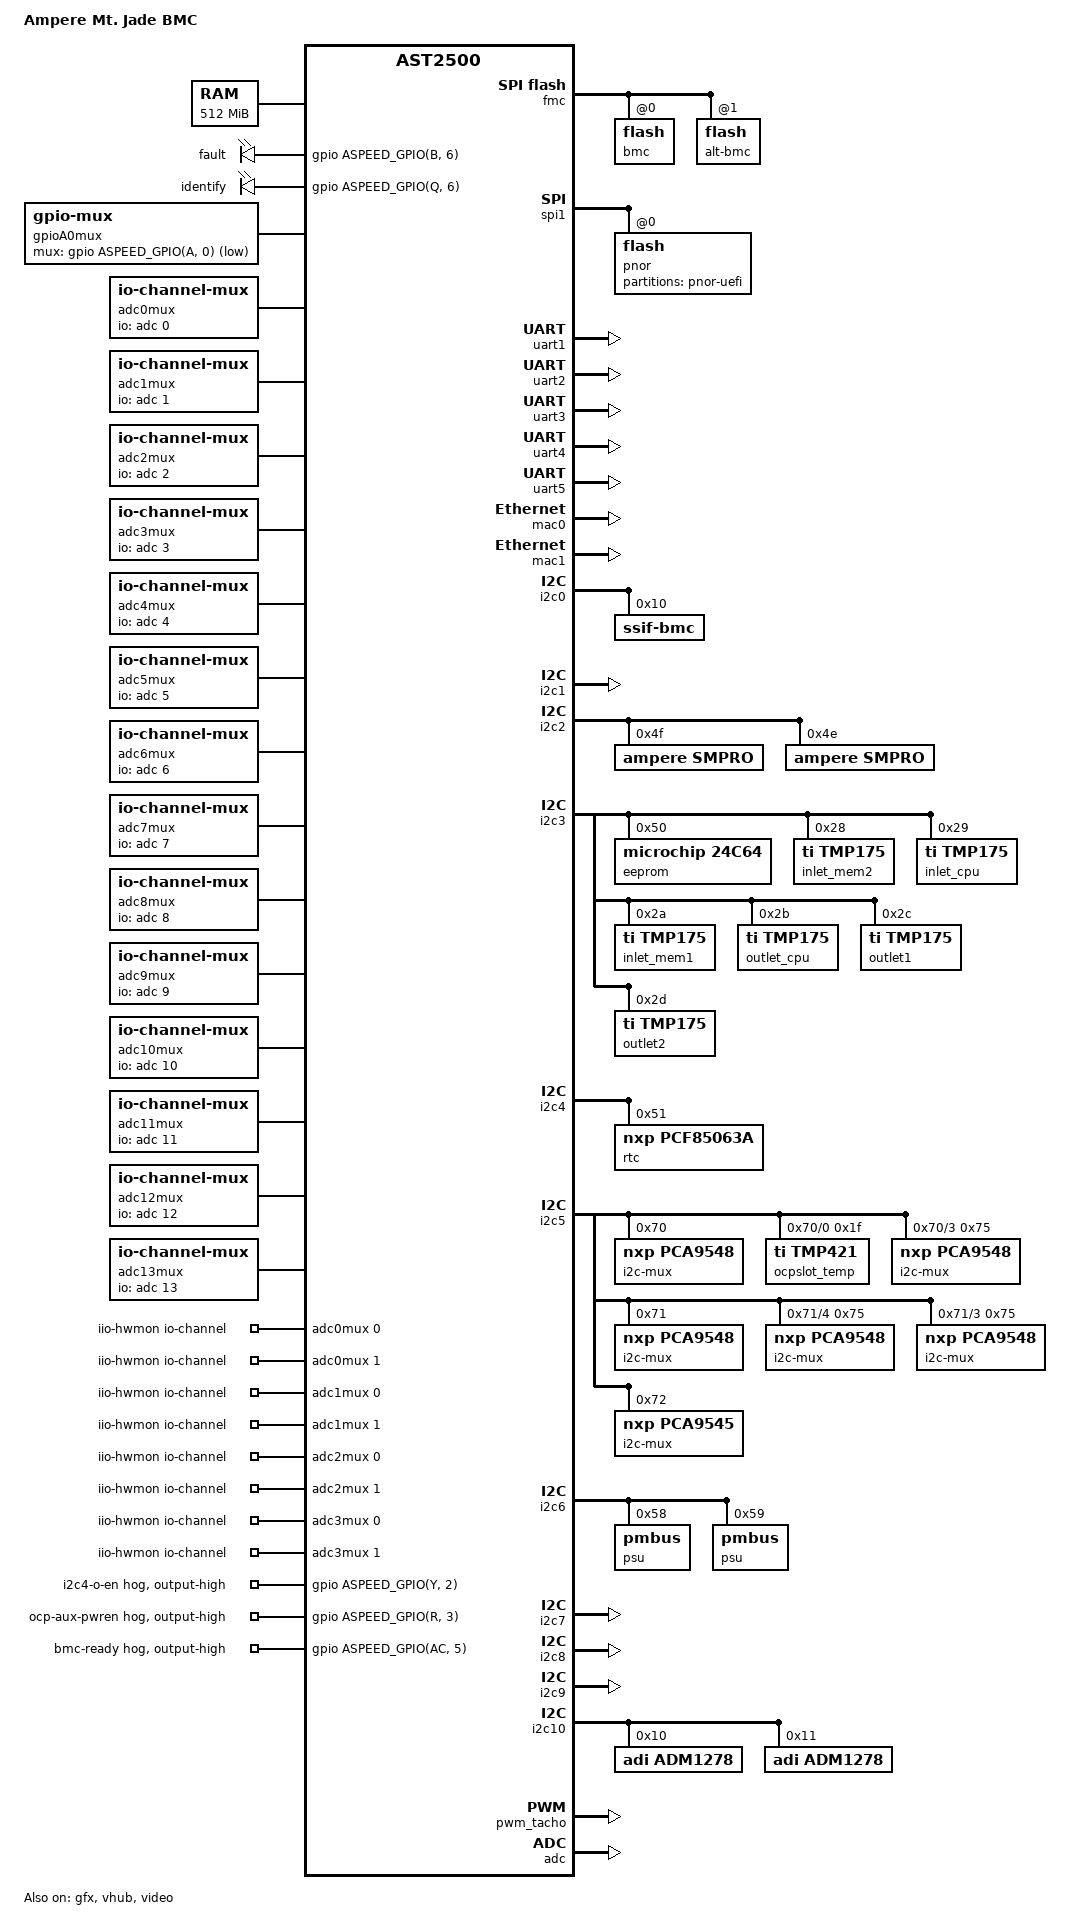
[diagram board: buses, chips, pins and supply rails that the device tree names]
// SPDX-License-Identifier: GPL-2.0+
/dts-v1/;
#include "aspeed-g5.dtsi"
#include <dt-bindings/gpio/aspeed-gpio.h>

/ {
	model = "Ampere Mt. Jade BMC";
	compatible = "ampere,mtjade-bmc", "aspeed,ast2500";

	aliases {
		/*
		 *  i2c bus 50-57 assigned to NVMe slot 0-7
		 */
		i2c50 = &nvmeslot_0;
		i2c51 = &nvmeslot_1;
		i2c52 = &nvmeslot_2;
		i2c53 = &nvmeslot_3;
		i2c54 = &nvmeslot_4;
		i2c55 = &nvmeslot_5;
		i2c56 = &nvmeslot_6;
		i2c57 = &nvmeslot_7;

		/*
		 *  i2c bus 60-67 assigned to NVMe slot 8-15
		 */
		i2c60 = &nvmeslot_8;
		i2c61 = &nvmeslot_9;
		i2c62 = &nvmeslot_10;
		i2c63 = &nvmeslot_11;
		i2c64 = &nvmeslot_12;
		i2c65 = &nvmeslot_13;
		i2c66 = &nvmeslot_14;
		i2c67 = &nvmeslot_15;

		/*
		 *  i2c bus 70-77 assigned to NVMe slot 16-23
		 */
		i2c70 = &nvmeslot_16;
		i2c71 = &nvmeslot_17;
		i2c72 = &nvmeslot_18;
		i2c73 = &nvmeslot_19;
		i2c74 = &nvmeslot_20;
		i2c75 = &nvmeslot_21;
		i2c76 = &nvmeslot_22;
		i2c77 = &nvmeslot_23;

		/*
		 *  i2c bus 80-81 assigned to NVMe M2 slot 0-1
		 */
		i2c80 = &nvme_m2_0;
		i2c81 = &nvme_m2_1;

		/*
		 *  i2c bus 82 assigned to OCP slot
		 */
		i2c82 = &ocpslot;
	};

	chosen {
		stdout-path = &uart5;
		bootargs = "console=ttyS4,115200 earlycon";
	};

	memory@80000000 {
		reg = <0x80000000 0x20000000>;
	};

	reserved-memory {
		#address-cells = <1>;
		#size-cells = <1>;
		ranges;

		vga_memory: framebuffer@9f000000 {
			no-map;
			reg = <0x9f000000 0x01000000>; /* 16M */
		};

		gfx_memory: framebuffer {
			size = <0x01000000>;
			alignment = <0x01000000>;
			compatible = "shared-dma-pool";
			reusable;
		};

		video_engine_memory: jpegbuffer {
			size = <0x02000000>;	/* 32M */
			alignment = <0x01000000>;
			compatible = "shared-dma-pool";
			reusable;
		};
	};

	leds {
		compatible = "gpio-leds";

		fault {
			gpios = <&gpio ASPEED_GPIO(B, 6) GPIO_ACTIVE_HIGH>;
		};

		identify {
			gpios = <&gpio ASPEED_GPIO(Q, 6) GPIO_ACTIVE_HIGH>;
		};
	};

	gpioA0mux: mux-controller {
		compatible = "gpio-mux";
		#mux-control-cells = <0>;
		mux-gpios = <&gpio ASPEED_GPIO(A, 0) GPIO_ACTIVE_LOW>;
	};

	adc0mux: adc0mux {
		compatible = "io-channel-mux";
		io-channels = <&adc 0>;
		#io-channel-cells = <1>;
		io-channel-names = "parent";
		mux-controls = <&gpioA0mux>;
		channels = "s0", "s1";
	};

	adc1mux: adc1mux {
		compatible = "io-channel-mux";
		io-channels = <&adc 1>;
		#io-channel-cells = <1>;
		io-channel-names = "parent";
		mux-controls = <&gpioA0mux>;
		channels = "s0", "s1";
	};

	adc2mux: adc2mux {
		compatible = "io-channel-mux";
		io-channels = <&adc 2>;
		#io-channel-cells = <1>;
		io-channel-names = "parent";
		mux-controls = <&gpioA0mux>;
		channels = "s0", "s1";
	};

	adc3mux: adc3mux {
		compatible = "io-channel-mux";
		io-channels = <&adc 3>;
		#io-channel-cells = <1>;
		io-channel-names = "parent";
		mux-controls = <&gpioA0mux>;
		channels = "s0", "s1";
	};

	adc4mux: adc4mux {
		compatible = "io-channel-mux";
		io-channels = <&adc 4>;
		#io-channel-cells = <1>;
		io-channel-names = "parent";
		mux-controls = <&gpioA0mux>;
		channels = "s0", "s1";
	};

	adc5mux: adc5mux {
		compatible = "io-channel-mux";
		io-channels = <&adc 5>;
		#io-channel-cells = <1>;
		io-channel-names = "parent";
		mux-controls = <&gpioA0mux>;
		channels = "s0", "s1";
	};

	adc6mux: adc6mux {
		compatible = "io-channel-mux";
		io-channels = <&adc 6>;
		#io-channel-cells = <1>;
		io-channel-names = "parent";
		mux-controls = <&gpioA0mux>;
		channels = "s0", "s1";
	};

	adc7mux: adc7mux {
		compatible = "io-channel-mux";
		io-channels = <&adc 7>;
		#io-channel-cells = <1>;
		io-channel-names = "parent";
		mux-controls = <&gpioA0mux>;
		channels = "s0", "s1";
	};

	adc8mux: adc8mux {
		compatible = "io-channel-mux";
		io-channels = <&adc 8>;
		#io-channel-cells = <1>;
		io-channel-names = "parent";
		mux-controls = <&gpioA0mux>;
		channels = "s0", "s1";
	};

	adc9mux: adc9mux {
		compatible = "io-channel-mux";
		io-channels = <&adc 9>;
		#io-channel-cells = <1>;
		io-channel-names = "parent";
		mux-controls = <&gpioA0mux>;
		channels = "s0", "s1";
	};

	adc10mux: adc10mux {
		compatible = "io-channel-mux";
		io-channels = <&adc 10>;
		#io-channel-cells = <1>;
		io-channel-names = "parent";
		mux-controls = <&gpioA0mux>;
		channels = "s0", "s1";
	};

	adc11mux: adc11mux {
		compatible = "io-channel-mux";
		io-channels = <&adc 11>;
		#io-channel-cells = <1>;
		io-channel-names = "parent";
		mux-controls = <&gpioA0mux>;
		channels = "s0", "s1";
	};

	adc12mux: adc12mux {
		compatible = "io-channel-mux";
		io-channels = <&adc 12>;
		#io-channel-cells = <1>;
		io-channel-names = "parent";
		mux-controls = <&gpioA0mux>;
		channels = "s0", "s1";
	};

	adc13mux: adc13mux {
		compatible = "io-channel-mux";
		io-channels = <&adc 13>;
		#io-channel-cells = <1>;
		io-channel-names = "parent";
		mux-controls = <&gpioA0mux>;
		channels = "s0", "s1";
	};

	iio-hwmon {
		compatible = "iio-hwmon";
		io-channels = <&adc0mux 0>, <&adc0mux 1>,
			<&adc1mux 0>, <&adc1mux 1>,
			<&adc2mux 0>, <&adc2mux 1>,
			<&adc3mux 0>, <&adc3mux 1>,
			<&adc4mux 0>, <&adc4mux 1>,
			<&adc5mux 0>, <&adc5mux 1>,
			<&adc6mux 0>, <&adc6mux 1>,
			<&adc7mux 0>, <&adc7mux 1>,
			<&adc8mux 0>, <&adc8mux 1>,
			<&adc9mux 0>, <&adc9mux 1>,
			<&adc10mux 0>, <&adc10mux 1>,
			<&adc11mux 0>, <&adc11mux 1>,
			<&adc12mux 0>, <&adc12mux 1>,
			<&adc13mux 0>, <&adc13mux 1>,
			<&adc 14>, <&adc 15>;
	};
};

&fmc {
	status = "okay";
	flash@0 {
		status = "okay";
		m25p,fast-read;
		label = "bmc";
		/* spi-max-frequency = <50000000>; */
#include "openbmc-flash-layout-64.dtsi"
	};

	flash@1 {
		status = "okay";
		m25p,fast-read;
		label = "alt-bmc";
#include "openbmc-flash-layout-64-alt.dtsi"
	};
};

&spi1 {
	status = "okay";
	pinctrl-names = "default";
	pinctrl-0 = <&pinctrl_spi1_default>;

	flash@0 {
		status = "okay";
		m25p,fast-read;
		label = "pnor";
		/* spi-max-frequency = <100000000>; */
		partitions {
			compatible = "fixed-partitions";
			#address-cells = <1>;
			#size-cells = <1>;
			uefi@400000 {
				reg = <0x400000 0x1C00000>;
				label = "pnor-uefi";
			};
		};
	};
};

&uart1 {
	status = "okay";
	pinctrl-names = "default";
	pinctrl-0 = <&pinctrl_txd1_default
			 &pinctrl_rxd1_default
			 &pinctrl_ncts1_default
			 &pinctrl_nrts1_default>;
};

&uart2 {
	status = "okay";
	pinctrl-names = "default";
	pinctrl-0 = <&pinctrl_txd2_default
			 &pinctrl_rxd2_default>;
};

&uart3 {
	status = "okay";
	pinctrl-names = "default";
	pinctrl-0 = <&pinctrl_txd3_default
			 &pinctrl_rxd3_default>;
};

&uart4 {
	status = "okay";
	pinctrl-names = "default";
	pinctrl-0 = <&pinctrl_txd4_default
			 &pinctrl_rxd4_default>;
};

/* The BMC's uart */
&uart5 {
	status = "okay";
};

&mac0 {
	status = "okay";
	pinctrl-names = "default";
	pinctrl-0 = <&pinctrl_rmii1_default>;
	clocks = <&syscon ASPEED_CLK_GATE_MAC1CLK>,
		 <&syscon ASPEED_CLK_MAC1RCLK>;
	clock-names = "MACCLK", "RCLK";
	use-ncsi;
};

&mac1 {
	status = "okay";
	pinctrl-names = "default";
	pinctrl-0 = <&pinctrl_rgmii2_default &pinctrl_mdio2_default>;
};

&i2c0 {
	status = "okay";
	ssif-bmc@10 {
		compatible = "ssif-bmc";
		reg = <0x10>;
	};
};

&i2c1 {
	status = "okay";
};

&i2c2 {
	status = "okay";
	smpro@4f {
		compatible = "ampere,smpro";
		reg = <0x4f>;
	};
	smpro@4e {
		compatible = "ampere,smpro";
		reg = <0x4e>;
	};
};

&i2c3 {
	status = "okay";
	eeprom@50 {
		compatible = "microchip,24c64", "atmel,24c64";
		reg = <0x50>;
		pagesize = <32>;
	};

	inlet_mem2: tmp175@28 {
		compatible = "ti,tmp175";
		reg = <0x28>;
	};

	inlet_cpu: tmp175@29 {
		compatible = "ti,tmp175";
		reg = <0x29>;
	};

	inlet_mem1: tmp175@2a {
		compatible = "ti,tmp175";
		reg = <0x2a>;
	};

	outlet_cpu: tmp175@2b {
		compatible = "ti,tmp175";
		reg = <0x2b>;
	};

	outlet1: tmp175@2c {
		compatible = "ti,tmp175";
		reg = <0x2c>;
	};

	outlet2: tmp175@2d {
		compatible = "ti,tmp175";
		reg = <0x2d>;
	};
};

&i2c4 {
	status = "okay";
	rtc@51 {
		compatible = "nxp,pcf85063a";
		reg = <0x51>;
	};
};

&i2c5 {
	status = "okay";
	i2c-mux@70 {
		compatible = "nxp,pca9548";
		#address-cells = <1>;
		#size-cells = <0>;
		reg = <0x70>;
		i2c-mux-idle-disconnect;

		ocpslot: i2c@0 {
			#address-cells = <1>;
			#size-cells = <0>;
			reg = <0x0>;

			ocpslot_temp: temperature-sensor@1f {
				compatible = "ti,tmp421";
				reg = <0x1f>;
			};
		};

		nvmeslot_0_7: i2c@3 {
			#address-cells = <1>;
			#size-cells = <0>;
			reg = <0x3>;
		};
	};

	i2c-mux@71 {
		compatible = "nxp,pca9548";
		#address-cells = <1>;
		#size-cells = <0>;
		reg = <0x71>;
		i2c-mux-idle-disconnect;

		nvmeslot_8_15: i2c@4 {
			#address-cells = <1>;
			#size-cells = <0>;
			reg = <0x4>;
		};

		nvmeslot_16_23: i2c@3 {
			#address-cells = <1>;
			#size-cells = <0>;
			reg = <0x3>;
		};

	};

	i2c-mux@72 {
		compatible = "nxp,pca9545";
		#address-cells = <1>;
		#size-cells = <0>;
		reg = <0x72>;
		i2c-mux-idle-disconnect;

		nvme_m2_0: i2c@0 {
			#address-cells = <1>;
			#size-cells = <0>;
			reg = <0x0>;
		};

		nvme_m2_1: i2c@1 {
			#address-cells = <1>;
			#size-cells = <0>;
			reg = <0x1>;
		};
	};
};

&nvmeslot_0_7 {
	status = "okay";

	i2c-mux@75 {
		compatible = "nxp,pca9548";
		#address-cells = <1>;
		#size-cells = <0>;
		reg = <0x75>;
		i2c-mux-idle-disconnect;

		nvmeslot_0: i2c@0 {
			#address-cells = <1>;
			#size-cells = <0>;
			reg = <0x0>;
		};
		nvmeslot_1: i2c@1 {
			#address-cells = <1>;
			#size-cells = <0>;
			reg = <0x1>;
		};
		nvmeslot_2: i2c@2 {
			#address-cells = <1>;
			#size-cells = <0>;
			reg = <0x2>;
		};
		nvmeslot_3: i2c@3 {
			#address-cells = <1>;
			#size-cells = <0>;
			reg = <0x3>;
		};
		nvmeslot_4: i2c@4 {
			#address-cells = <1>;
			#size-cells = <0>;
			reg = <0x4>;
		};
		nvmeslot_5: i2c@5 {
			#address-cells = <1>;
			#size-cells = <0>;
			reg = <0x5>;
		};
		nvmeslot_6: i2c@6 {
			#address-cells = <1>;
			#size-cells = <0>;
			reg = <0x6>;
		};
		nvmeslot_7: i2c@7 {
			#address-cells = <1>;
			#size-cells = <0>;
			reg = <0x7>;
		};

	};
};

&nvmeslot_8_15 {
	status = "okay";

	i2c-mux@75 {
		compatible = "nxp,pca9548";
		#address-cells = <1>;
		#size-cells = <0>;
		reg = <0x75>;
		i2c-mux-idle-disconnect;

		nvmeslot_8: i2c@0 {
			#address-cells = <1>;
			#size-cells = <0>;
			reg = <0x0>;
		};
		nvmeslot_9: i2c@1 {
			#address-cells = <1>;
			#size-cells = <0>;
			reg = <0x1>;
		};
		nvmeslot_10: i2c@2 {
			#address-cells = <1>;
			#size-cells = <0>;
			reg = <0x2>;
		};
		nvmeslot_11: i2c@3 {
			#address-cells = <1>;
			#size-cells = <0>;
			reg = <0x3>;
		};
		nvmeslot_12: i2c@4 {
			#address-cells = <1>;
			#size-cells = <0>;
			reg = <0x4>;
		};
		nvmeslot_13: i2c@5 {
			#address-cells = <1>;
			#size-cells = <0>;
			reg = <0x5>;
		};
		nvmeslot_14: i2c@6 {
			#address-cells = <1>;
			#size-cells = <0>;
			reg = <0x6>;
		};
		nvmeslot_15: i2c@7 {
			#address-cells = <1>;
			#size-cells = <0>;
			reg = <0x7>;
		};
	};
};

&nvmeslot_16_23 {
	status = "okay";

	i2c-mux@75 {
		compatible = "nxp,pca9548";
		#address-cells = <1>;
		#size-cells = <0>;
		reg = <0x75>;
		i2c-mux-idle-disconnect;

		nvmeslot_16: i2c@0 {
			#address-cells = <1>;
			#size-cells = <0>;
			reg = <0x0>;
		};
		nvmeslot_17: i2c@1 {
			#address-cells = <1>;
			#size-cells = <0>;
			reg = <0x1>;
		};
		nvmeslot_18: i2c@2 {
			#address-cells = <1>;
			#size-cells = <0>;
			reg = <0x2>;
		};
		nvmeslot_19: i2c@3 {
			#address-cells = <1>;
			#size-cells = <0>;
			reg = <0x3>;
		};
		nvmeslot_20: i2c@4 {
			#address-cells = <1>;
			#size-cells = <0>;
			reg = <0x4>;
		};
		nvmeslot_21: i2c@5 {
			#address-cells = <1>;
			#size-cells = <0>;
			reg = <0x5>;
		};
		nvmeslot_22: i2c@6 {
			#address-cells = <1>;
			#size-cells = <0>;
			reg = <0x6>;
		};
		nvmeslot_23: i2c@7 {
			#address-cells = <1>;
			#size-cells = <0>;
			reg = <0x7>;
		};
	};
};

&i2c6 {
	status = "okay";
	psu@58 {
		compatible = "pmbus";
		reg = <0x58>;
	};

	psu@59 {
		compatible = "pmbus";
		reg = <0x59>;
	};
};

&i2c7 {
	status = "okay";
};

&i2c8 {
	status = "okay";
};

&i2c9 {
	status = "okay";
};

&i2c10 {
	status = "okay";
	adm1278@10 {
		compatible = "adi,adm1278";
		reg = <0x10>;
	};

	adm1278@11 {
		compatible = "adi,adm1278";
		reg = <0x11>;
	};
};

&gfx {
	status = "okay";
	memory-region = <&gfx_memory>;
};

&pwm_tacho {
	status = "okay";
	pinctrl-names = "default";
	pinctrl-0 = <&pinctrl_pwm2_default &pinctrl_pwm3_default
			&pinctrl_pwm4_default &pinctrl_pwm5_default
			&pinctrl_pwm6_default &pinctrl_pwm7_default>;

	fan@0 {
		reg = <0x02>;
		aspeed,fan-tach-ch = /bits/ 8 <0x04>;
	};

	fan@1 {
		reg = <0x02>;
		aspeed,fan-tach-ch = /bits/ 8 <0x05>;
	};

	fan@2 {
		reg = <0x03>;
		aspeed,fan-tach-ch = /bits/ 8 <0x06>;
	};

	fan@3 {
		reg = <0x03>;
		aspeed,fan-tach-ch = /bits/ 8 <0x07>;
	};

	fan@4 {
		reg = <0x04>;
		aspeed,fan-tach-ch = /bits/ 8 <0x08>;
	};

	fan@5 {
		reg = <0x04>;
		aspeed,fan-tach-ch = /bits/ 8 <0x09>;
	};

	fan@6 {
		reg = <0x05>;
		aspeed,fan-tach-ch = /bits/ 8 <0x0a>;
	};

	fan@7 {
		reg = <0x05>;
		aspeed,fan-tach-ch = /bits/ 8 <0x0b>;
	};

	fan@8 {
		reg = <0x06>;
		aspeed,fan-tach-ch = /bits/ 8 <0x0c>;
	};

	fan@9 {
		reg = <0x06>;
		aspeed,fan-tach-ch = /bits/ 8 <0x0d>;
	};

	fan@10 {
		reg = <0x07>;
		aspeed,fan-tach-ch = /bits/ 8 <0x0e>;
	};

	fan@11 {
		reg = <0x07>;
		aspeed,fan-tach-ch = /bits/ 8 <0x0f>;
	};

};

&vhub {
	status = "okay";
};

&adc {
	status = "okay";
};

&video {
	status = "okay";
	memory-region = <&video_engine_memory>;
};

&gpio {
	gpio-line-names =
	/*A0-A7*/	"","","","host0-special-boot","","","","",
	/*B0-B7*/	"i2c-backup-sel","","","",
			"power-button","presence-cpu0","","",
	/*C0-C7*/	"","","","","","","","",
	/*D0-D7*/	"","","","","","","","",
	/*E0-E7*/	"","","","","","","","",
	/*F0-F7*/	"ps0-pgood","ps1-pgood","power-chassis-control","s0-ddr-save",
			"power-chassis-good", "s1-ddr-save","","",
	/*G0-G7*/	"host0-ready","host0-shd-req-n","host0-shd-ack-n",
			"s0-overtemp-n","","","","",
	/*H0-H7*/	"uart1-mode1","uart2-mode1","uart3-mode1","uart4-mode1",
			"ps0-vin-good","ps1-vin-good","","i2c6-reset-n",
	/*I0-I7*/	"presence-ps0","presence-ps1","s1-special-boot","","","","","",
	/*J0-J7*/	"s0-hightemp-n","s0-fault-alert","s0-sys-auth-failure-n",
			"host0-reboot-ack-n","","","","",
	/*K0-K7*/	"","","","","","","","",
	/*L0-L7*/	"","","","host0-sysreset-n","s0-spi-auth-fail-n","","","",
	/*M0-M7*/	"","","","","s0-i2c9-alert-n","s1-i2c9-alert-n","","",
	/*N0-N7*/	"","","","","","","","",
	/*O0-O7*/	"","","","","","","","",
	/*P0-P7*/	"","","","","","","","",
	/*Q0-Q7*/	"","","","","","identify-button","led-identify","",
	/*R0-R7*/	"","","ext-hightemp-n","","ocp-main-pwren","reset-button","","",
	/*S0-S7*/	"s0-vr-hot-n","s1-vr-hot-n","","",
			"rtc-battery-voltage-read-enable","vr-pmbus-sel-n","","",
	/*T0-T7*/	"","","","","","","","",
	/*U0-U7*/	"","","","","","","","",
	/*V0-V7*/	"","","","","","","","",
	/*W0-W7*/	"","","","","","","","",
	/*X0-X7*/	"","","","","","","","",
	/*Y0-Y7*/	"","","","bmc-vga-en-n","","","","",
	/*Z0-Z7*/	"s0-plimit","s1-fault-alert","s1-fw-boot-ok","s0-rtc-lock","",
			"s1-sys-auth-failure-n","s1-overtemp-n","",
	/*AA0-AA7*/	"","","","","","","","",
	/*AB0-AB7*/	"s1-hightemp-n","s1-plimit","s0-ddr-addr","s1-ddr-addr","","",
			"","",
	/*AC0-AC7*/	"sys-pwr-gd","","spi0-program-sel","spi0-backup-sel","bmc-ok",
			"","presence-cpu1","ocp-pgood";

	i2c4-o-en-hog {
		gpio-hog;
		gpios = <ASPEED_GPIO(Y, 2) GPIO_ACTIVE_HIGH>;
		output-high;
		line-name = "i2c4-o-en";
	};

	ocp-aux-pwren-hog {
		gpio-hog;
		gpios = <ASPEED_GPIO(R, 3) GPIO_ACTIVE_HIGH>;
		output-high;
		line-name = "ocp-aux-pwren";
	};

	bmc-ready-hog {
		gpio-hog;
		gpios = <ASPEED_GPIO(AC, 5) GPIO_ACTIVE_HIGH>;
		output-high;
		line-name = "bmc-ready";
	};
};
